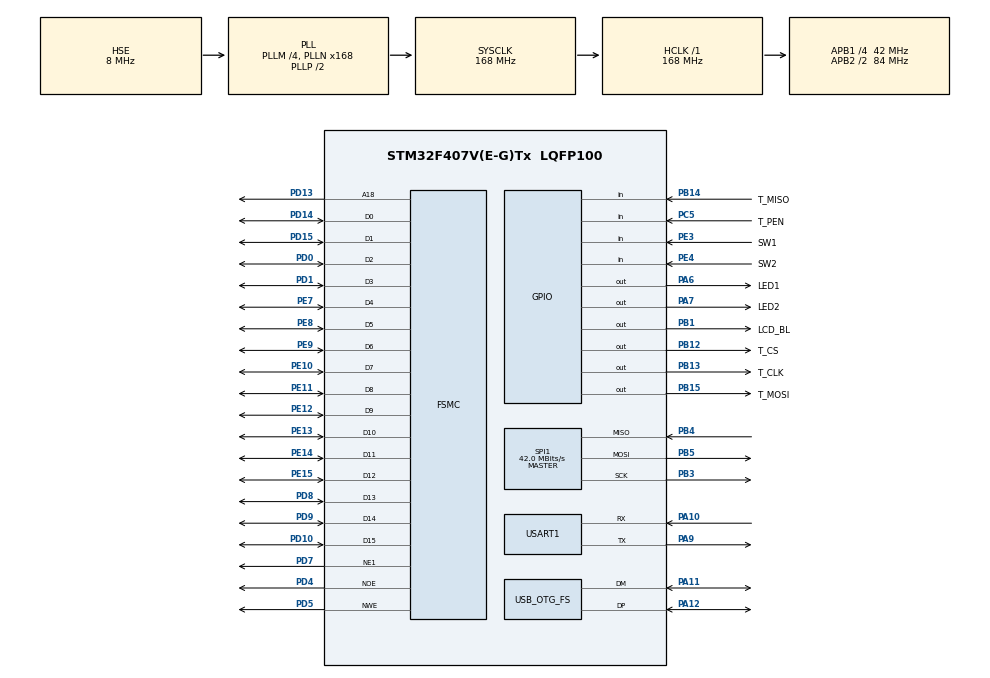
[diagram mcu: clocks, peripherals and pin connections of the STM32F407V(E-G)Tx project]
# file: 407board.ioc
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FSMC.AddressSetupTime1=1
FSMC.BusTurnAroundDuration1=0
FSMC.DataSetupTime1=5
Mcu.Family=STM32F4
Mcu.Name=STM32F407V(E-G)Tx
Mcu.Package=LQFP100
NVIC.OTG_FS_IRQn=true\:0\:0\:false\:false\:true\:true\:true\:true
NVIC.PriorityGroup=NVIC_PRIORITYGROUP_4
NVIC.SPI1_IRQn=true\:0\:0\:false\:false\:true\:true\:true\:true
NVIC.USART1_IRQn=true\:0\:0\:false\:false\:true\:true\:true\:true
PA0-WKUP.Mode=SYS_WakeUp0
PA0-WKUP.Signal=SYS_WKUP
PA10.Mode=Asynchronous
PA10.Signal=USART1_RX
PA11.Mode=Device_Only
PA11.Signal=USB_OTG_FS_DM
PA12.Mode=Device_Only
PA12.Signal=USB_OTG_FS_DP
PA13.Mode=Serial_Wire
PA13.Signal=SYS_JTMS-SWDIO
PA14.Mode=Serial_Wire
PA14.Signal=SYS_JTCK-SWCLK
PA6.GPIO_Label=LED1
PA6.PinState=GPIO_PIN_SET
PA6.Signal=GPIO_Output
PA7.GPIO_Label=LED2
PA7.PinState=GPIO_PIN_SET
PA7.Signal=GPIO_Output
PA9.Mode=Asynchronous
PA9.Signal=USART1_TX
PB1.GPIO_Label=LCD_BL
PB1.Signal=GPIO_Output
PB12.GPIO_Label=T_CS
PB12.GPIO_ModeDefaultOutputPP=GPIO_MODE_OUTPUT_OD
PB12.GPIO_PuPd=GPIO_PULLUP
PB12.GPIO_Speed=GPIO_SPEED_FREQ_VERY_HIGH
PB12.PinState=GPIO_PIN_SET
PB12.Signal=GPIO_Output
PB13.GPIO_Label=T_CLK
PB13.GPIO_Speed=GPIO_SPEED_FREQ_VERY_HIGH
PB13.PinState=GPIO_PIN_SET
PB13.Signal=GPIO_Output
PB14.GPIO_Label=T_MISO
PB14.GPIO_PuPd=GPIO_PULLUP
PB14.Signal=GPIO_Input
PB15.GPIO_Label=T_MOSI
PB15.GPIO_Speed=GPIO_SPEED_FREQ_VERY_HIGH
PB15.PinState=GPIO_PIN_SET
PB15.Signal=GPIO_Output
PB3.Mode=Full_Duplex_Master
PB3.Signal=SPI1_SCK
PB4.Mode=Full_Duplex_Master
PB4.Signal=SPI1_MISO
PB5.Mode=Full_Duplex_Master
PB5.Signal=SPI1_MOSI
PC14-OSC32_IN.Mode=LSE-External-Oscillator
PC14-OSC32_IN.Signal=RCC_OSC32_IN
PC15-OSC32_OUT.Mode=LSE-External-Oscillator
PC15-OSC32_OUT.Signal=RCC_OSC32_OUT
PC5.GPIO_Label=T_PEN
PC5.GPIO_PuPd=GPIO_PULLUP
PC5.Signal=GPIO_Input
PD0.GPIO_PuPd=GPIO_PULLUP
PD0.Mode=16b-d1
PD0.Signal=FSMC_D2
PD1.GPIO_PuPd=GPIO_PULLUP
PD1.Mode=16b-d1
PD1.Signal=FSMC_D3
PD10.GPIO_PuPd=GPIO_PULLUP
PD10.Mode=16b-d1
PD10.Signal=FSMC_D15
PD13.Mode=A18_1
PD13.Signal=FSMC_A18
PD14.GPIO_PuPd=GPIO_PULLUP
PD14.Mode=16b-d1
PD14.Signal=FSMC_D0
PD15.GPIO_PuPd=GPIO_PULLUP
PD15.Mode=16b-d1
PD15.Signal=FSMC_D1
PD4.Mode=Lcd1
PD4.Signal=FSMC_NOE
PD5.Mode=Lcd1
PD5.Signal=FSMC_NWE
PD7.Mode=NorPsramChipSelect1_1
PD7.Signal=FSMC_NE1
PD8.GPIO_PuPd=GPIO_PULLUP
PD8.Mode=16b-d1
PD8.Signal=FSMC_D13
PD9.GPIO_PuPd=GPIO_PULLUP
PD9.Mode=16b-d1
PD9.Signal=FSMC_D14
PE10.GPIO_PuPd=GPIO_PULLUP
PE10.Mode=16b-d1
PE10.Signal=FSMC_D7
PE11.GPIO_PuPd=GPIO_PULLUP
PE11.Mode=16b-d1
PE11.Signal=FSMC_D8
PE12.GPIO_PuPd=GPIO_PULLUP
PE12.Mode=16b-d1
PE12.Signal=FSMC_D9
PE13.GPIO_PuPd=GPIO_PULLUP
PE13.Mode=16b-d1
PE13.Signal=FSMC_D10
PE14.GPIO_PuPd=GPIO_PULLUP
PE14.Mode=16b-d1
PE14.Signal=FSMC_D11
PE15.GPIO_PuPd=GPIO_PULLUP
PE15.Mode=16b-d1
PE15.Signal=FSMC_D12
PE3.GPIO_Label=SW1
PE3.GPIO_PuPd=GPIO_PULLUP
PE3.Signal=GPIO_Input
PE4.GPIO_Label=SW2
PE4.GPIO_PuPd=GPIO_PULLUP
PE4.Signal=GPIO_Input
PE7.GPIO_PuPd=GPIO_PULLUP
PE7.Mode=16b-d1
PE7.Signal=FSMC_D4
PE8.GPIO_PuPd=GPIO_PULLUP
PE8.Mode=16b-d1
PE8.Signal=FSMC_D5
PE9.GPIO_PuPd=GPIO_PULLUP
PE9.Mode=16b-d1
PE9.Signal=FSMC_D6
PH0-OSC_IN.Mode=HSE-External-Oscillator
PH0-OSC_IN.Signal=RCC_OSC_IN
PH1-OSC_OUT.Mode=HSE-External-Oscillator
PH1-OSC_OUT.Signal=RCC_OSC_OUT
ProjectManager.HeapSize=0x200
ProjectManager.StackSize=0x400
ProjectManager.TargetToolchain=STM32CubeIDE
RCC.48MHZClocksFreq_Value=48000000
RCC.AHBFreq_Value=168000000
RCC.APB1CLKDivider=RCC_HCLK_DIV4
RCC.APB1Freq_Value=42000000
RCC.APB1TimFreq_Value=84000000
RCC.APB2CLKDivider=RCC_HCLK_DIV2
RCC.APB2Freq_Value=84000000
RCC.APB2TimFreq_Value=168000000
RCC.CortexFreq_Value=168000000
RCC.HCLKFreq_Value=168000000
RCC.HSE_VALUE=8000000
RCC.HSI_VALUE=16000000
RCC.PLLM=4
RCC.PLLN=168
RCC.PLLQ=7
RCC.RCC_RTC_Clock_Source=RCC_RTCCLKSOURCE_LSE
RCC.RCC_RTC_Clock_SourceVirtual=RCC_RTCCLKSOURCE_LSE
RCC.SYSCLKFreq_VALUE=168000000
RCC.SYSCLKSource=RCC_SYSCLKSOURCE_PLLCLK
RCC.VCOOutputFreq_Value=336000000
SPI1.CalculateBaudRate=42.0 MBits/s
SPI1.Direction=SPI_DIRECTION_2LINES
SPI1.Mode=SPI_MODE_MASTER
SPI1.VirtualType=VM_MASTER
USART1.VirtualMode=VM_ASYNC
USB_DEVICE.CLASS_NAME_FS=CDC
USB_DEVICE.VirtualMode-CDC_FS=Cdc
USB_DEVICE.VirtualModeFS=Cdc_FS
USB_OTG_FS.VirtualMode=Device_Only
VP_RTC_VS_RTC_Activate.Mode=RTC_Enabled
VP_USB_DEVICE_VS_USB_DEVICE_CDC_FS.Mode=CDC_FS
board=custom

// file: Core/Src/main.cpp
/* USER CODE BEGIN Header */
/**
  ******************************************************************************
  * @file           : main.c
  * @brief          : Main program body
  ******************************************************************************
  * @attention
  * Copyright (c) 2023 STMicroelectronics.
  * All rights reserved.
  *
  * This software is licensed under terms that can be found in the LICENSE file
  * in the root directory of this software component.
  * If no LICENSE file comes with this software, it is provided AS-IS.
  *
  ******************************************************************************
  */
/* USER CODE END Header */
#include "main.h"
#include "rtc.h"
#include "spi.h"
#include "usart.h"
#include "usb_device.h"
#include "gpio.h"
#include "fsmc.h"

/* USER CODE BEGIN Includes */
#include "ili9341.h"
#include "ILI9341_Touchscreen.h"
// #include "tpad.h"
#include <stdbool.h>
/* USER CODE END Includes */

/* USER CODE BEGIN PD */
#define min(a,b) (((a)<(b))?(a):(b))
/* USER CODE END PD */

/* USER CODE BEGIN PV */
RTC_TimeTypeDef time;
extern RTC_HandleTypeDef hrtc;
uint16_t penX, penY;

/* USER CODE END PV */

void SystemClock_Config(void);
/* USER CODE BEGIN PFP */
void demoLCD(int i);
unsigned long testFillScreen();
unsigned long testText();
unsigned long testLines(uint16_t color);
unsigned long testFastLines(uint16_t color1, uint16_t color2);
unsigned long testRects(uint16_t color);
unsigned long testFilledRects(uint16_t color1, uint16_t color2);
unsigned long testFilledCircles(uint8_t radius, uint16_t color);
unsigned long testCircles(uint8_t radius, uint16_t color);
unsigned long testTriangles();
unsigned long testFilledTriangles();
unsigned long testRoundRects();
unsigned long testFilledRoundRects();
unsigned long testDrawImage();
/* USER CODE END PFP */

int main(void)
{

  /* MCU Configuration--------------------------------------------------------*/

  /* Reset of all peripherals, Initializes the Flash interface and the Systick. */
  HAL_Init();

  /* Configure the system clock */
  SystemClock_Config();

  /* Initialize all configured peripherals */
  MX_GPIO_Init();
  MX_FSMC_Init();
  MX_RTC_Init();
  MX_SPI1_Init();
  MX_USART1_UART_Init();
  MX_USB_DEVICE_Init();
  /* USER CODE BEGIN 2 */
//  time.Hours = 22;
//  time.Minutes = 59;
//  time.Seconds = 00;
//  HAL_RTC_SetTime(&rtc, &time , RTC_HOURFORMAT_24);
  LCD_BL_ON();
   lcdInit();
   int i = 1;
   lcdSetOrientation((lcdOrientationTypeDef)i);
   // TpadInit();
   HAL_Delay(100);
  // HAL_RTC_GetTime(&hrtc, &time, RTC_HOURFORMAT_24);
   lcdFillRGB(COLOR_BLACK);
   char Str[] = "Привет!";
   lcdSetTextFont(&Font_arial_10);
       lcdSetCursor(15,2);
       lcdPrintText(Str, 7, COLOR_GREEN, COLOR_DARKCYAN);
       HAL_Delay(2000);
       lcdSetCursor(1,20);
       lcdSetTextColor(COLOR_WHITE, COLOR_BLACK);
       lcdPrintf("\t\t CALIBRATE! \n Перемешайте стилус по экрану \n from  upper right to down left\n   screens corner few time");
       while(! TP_Touchpad_Pressed());
       TP_calibration();
   lcdFillRGB(COLOR_BLACK);

  /* USER CODE END 2 */

  /* Infinite loop */
  /* USER CODE BEGIN WHILE */
bool refil = false;
  while (1)
  {

//      	if(TpadGetCoordinates(penX, penY)){
//      	}

      if(TP_Touchpad_Pressed() == 1){
	  uint16_t Coord[4] ={0};
	  refil = true;
	  TP_Read_Coordinates(Coord);
      		lcdSetTextFont(&Font_arial_10);
      	      	lcdSetCursor(1 , 1);
      	      	lcdSetTextColor(COLOR_GREENYELLOW, COLOR_BLACK);
      	      	lcdPrintf("PEN: X %5i Y %5i\n \t X %5i Y %5i", Coord[0], Coord[1], Coord[2], Coord[3]);

      } else {
	  if (refil){
	  refil = false;
	  lcdFillRGB(COLOR_BLACK);
	  }
      }
    unsigned long t = testText();
    lcdSetTextFont(&Font_arial_10);
    lcdSetCursor(0, lcdGetHeight() - lcdGetTextFont()->Height - 2);
    lcdSetTextColor(COLOR_WHITE, COLOR_BLACK);
    lcdPrintf("Time: %4lu ms", t);
      		// HAL_Delay(_delay);

//      demoLCD(i);
//    	  i++;
      }

    /* USER CODE END WHILE */

}

void SystemClock_Config(void)
{
  RCC_OscInitTypeDef RCC_OscInitStruct = {0};
  RCC_ClkInitTypeDef RCC_ClkInitStruct = {0};

  /** Configure the main internal regulator output voltage
  */
  __HAL_RCC_PWR_CLK_ENABLE();
  __HAL_PWR_VOLTAGESCALING_CONFIG(PWR_REGULATOR_VOLTAGE_SCALE1);

  /** Initializes the RCC Oscillators according to the specified parameters
  * in the RCC_OscInitTypeDef structure.
  */
  RCC_OscInitStruct.OscillatorType = RCC_OSCILLATORTYPE_HSE|RCC_OSCILLATORTYPE_LSE;
  RCC_OscInitStruct.HSEState = RCC_HSE_ON;
  RCC_OscInitStruct.LSEState = RCC_LSE_ON;
  RCC_OscInitStruct.PLL.PLLState = RCC_PLL_ON;
  RCC_OscInitStruct.PLL.PLLSource = RCC_PLLSOURCE_HSE;
  RCC_OscInitStruct.PLL.PLLM = 4;
  RCC_OscInitStruct.PLL.PLLN = 168;
  RCC_OscInitStruct.PLL.PLLP = RCC_PLLP_DIV2;
  RCC_OscInitStruct.PLL.PLLQ = 7;
  if (HAL_RCC_OscConfig(&RCC_OscInitStruct) != HAL_OK)
  {
    Error_Handler();
  }

  /** Initializes the CPU, AHB and APB buses clocks
  */
  RCC_ClkInitStruct.ClockType = RCC_CLOCKTYPE_HCLK|RCC_CLOCKTYPE_SYSCLK
                              |RCC_CLOCKTYPE_PCLK1|RCC_CLOCKTYPE_PCLK2;
  RCC_ClkInitStruct.SYSCLKSource = RCC_SYSCLKSOURCE_PLLCLK;
  RCC_ClkInitStruct.AHBCLKDivider = RCC_SYSCLK_DIV1;
  RCC_ClkInitStruct.APB1CLKDivider = RCC_HCLK_DIV4;
  RCC_ClkInitStruct.APB2CLKDivider = RCC_HCLK_DIV2;

  if (HAL_RCC_ClockConfig(&RCC_ClkInitStruct, FLASH_LATENCY_5) != HAL_OK)
  {
    Error_Handler();
  }
}

/* USER CODE BEGIN 4 */

void demoLCD(int i)
{

	lcdSetOrientation((lcdOrientationTypeDef)i);
	uint16_t _delay = 200;
	uint32_t t = testFillScreen();
	lcdSetTextFont(&Font_arial_10);
	lcdSetCursor(0, lcdGetHeight() - lcdGetTextFont()->Height - 1);
	lcdSetTextColor(COLOR_WHITE, COLOR_BLACK);
	lcdPrintf("Time: %4lu ms", t);
	HAL_Delay(_delay);

	t = HAL_GetTick();
	lcdTest();
	lcdSetTextFont(&Font_arial_10);
	lcdSetCursor(0, lcdGetHeight() - lcdGetTextFont()->Height - 1);
	lcdSetTextColor(COLOR_WHITE, COLOR_BLACK);
	lcdPrintf("Time: %4lu ms", HAL_GetTick() - t);
	HAL_Delay(_delay);

	t = testText();
	lcdSetTextFont(&Font_arial_10);
	lcdSetCursor(0, lcdGetHeight() - lcdGetTextFont()->Height - 1);
	lcdSetTextColor(COLOR_WHITE, COLOR_BLACK);
	lcdPrintf("Time: %4lu ms", t);
	HAL_Delay(_delay*10);

	lcdSetTextFont(&Font_arial_10);
	lcdSetCursor(0, lcdGetHeight() - lcdGetTextFont()->Height - 1);
	lcdSetTextColor(COLOR_WHITE, COLOR_BLACK);
	lcdPrintf("Time: %4lu ms", testLines(COLOR_CYAN));
	HAL_Delay(_delay);

	lcdSetTextFont(&Font_arial_10);
	lcdSetCursor(0, lcdGetHeight() - lcdGetTextFont()->Height - 1);
	lcdSetTextColor(COLOR_WHITE, COLOR_BLACK);
	lcdPrintf("Time: %4lu ms", testFastLines(COLOR_RED, COLOR_BLUE));
	HAL_Delay(_delay);

	lcdSetTextFont(&Font_arial_10);
	lcdSetCursor(0, lcdGetHeight() - lcdGetTextFont()->Height - 1);
	lcdSetTextColor(COLOR_WHITE, COLOR_BLACK);
	lcdPrintf("Time: %4lu ms", testRects(COLOR_GREEN));
	HAL_Delay(_delay);

	lcdSetTextFont(&Font_arial_10);
	lcdSetCursor(0, lcdGetHeight() - lcdGetTextFont()->Height - 1);
	lcdSetTextColor(COLOR_WHITE, COLOR_BLACK);
	lcdPrintf("Time: %4lu ms", testFilledRects(COLOR_YELLOW, COLOR_MAGENTA));
	HAL_Delay(_delay);

	lcdSetTextFont(&Font_arial_10);
	lcdSetCursor(0, lcdGetHeight() - lcdGetTextFont()->Height - 1);
	lcdSetTextColor(COLOR_WHITE, COLOR_BLACK);
	lcdPrintf("Time: %4lu ms", testFilledCircles(10, COLOR_MAGENTA));
	HAL_Delay(_delay);

	lcdSetTextFont(&Font_arial_10);
	lcdSetCursor(0, lcdGetHeight() - lcdGetTextFont()->Height - 1);
	lcdSetTextColor(COLOR_WHITE, COLOR_BLACK);
	lcdPrintf("Time: %4lu ms", testCircles(10, COLOR_WHITE));
	HAL_Delay(_delay);

	lcdSetTextFont(&Font_arial_10);
	lcdSetCursor(0, lcdGetHeight() - lcdGetTextFont()->Height - 1);
	lcdSetTextColor(COLOR_WHITE, COLOR_BLACK);
	lcdPrintf("Time: %4lu ms", testTriangles());
	HAL_Delay(_delay);

	lcdSetTextFont(&Font_arial_10);
	lcdSetCursor(0, lcdGetHeight() - lcdGetTextFont()->Height - 1);
	lcdSetTextColor(COLOR_WHITE, COLOR_BLACK);
	lcdPrintf("Time: %4lu ms", testFilledTriangles());
	HAL_Delay(_delay);

	lcdSetTextFont(&Font_arial_10);
	lcdSetCursor(0, lcdGetHeight() - lcdGetTextFont()->Height - 1);
	lcdSetTextColor(COLOR_WHITE, COLOR_BLACK);
	lcdPrintf("Time: %4lu ms", testRoundRects());
	HAL_Delay(_delay);

	lcdSetTextFont(&Font_arial_10);
	lcdSetCursor(0, lcdGetHeight() - lcdGetTextFont()->Height - 1);
	lcdSetTextColor(COLOR_WHITE, COLOR_BLACK);
	lcdPrintf("Time: %4lu ms", testFilledRoundRects());
	HAL_Delay(_delay);

	lcdSetTextFont(&Font_arial_10);
	lcdSetCursor(0, lcdGetHeight() - lcdGetTextFont()->Height - 1);
	lcdSetTextColor(COLOR_WHITE, COLOR_BLACK);
	lcdPrintf("Time: %4lu ms", testDrawImage());
	HAL_Delay(_delay);
}

unsigned long testFillScreen()
{
	uint16_t blink_time = 500;
	unsigned long start = HAL_GetTick(), t = 0;
	lcdFillRGB(COLOR_BLACK);
	t += HAL_GetTick() - start;
	lcdSetCursor(0, 0);
	lcdSetTextFont(&Font_verdana_14);
	lcdSetTextColor(COLOR_WHITE, COLOR_BLACK);
	lcdPrintf("BLACK");
	HAL_Delay(blink_time);
	start = HAL_GetTick();
	lcdFillRGB(COLOR_RED);
	t += HAL_GetTick() - start;
	lcdSetCursor(0, 0);
	lcdSetTextFont(&Font_verdana_14);
	lcdSetTextColor(COLOR_WHITE, COLOR_BLACK);
	lcdPrintf("RED");
	HAL_Delay(blink_time);
	start = HAL_GetTick();
	lcdFillRGB(COLOR_GREEN);
	t += HAL_GetTick() - start;
	lcdSetCursor(0, 0);
	lcdSetTextFont(&Font_verdana_14);
	lcdSetTextColor(COLOR_WHITE, COLOR_BLACK);
	lcdPrintf("GREEN");
	HAL_Delay(blink_time);
	start = HAL_GetTick();
	lcdFillRGB(COLOR_BLUE);
	t += HAL_GetTick() - start;
	lcdSetCursor(0, 0);
	lcdSetTextFont(&Font_verdana_14);
	lcdSetTextColor(COLOR_WHITE, COLOR_BLACK);
	lcdPrintf("BLUE");
	HAL_Delay(blink_time);
	start = HAL_GetTick();
	lcdFillRGB(COLOR_BLACK);
	return t += HAL_GetTick() - start;
}

unsigned long testText()
{
	unsigned long start = HAL_GetTick();
	HAL_RTC_GetTime(&hrtc, &time, RTC_HOURFORMAT_24);
	lcdSetCursor(50, 60);
	lcdSetTextColor(COLOR_YELLOW, COLOR_BLACK);
	lcdSetTextFont(&Font_arial_14);
	lcdPrintf("%02i : %02i : %02i ", time.Hours, time.Minutes, time.Seconds);
		lcdSetCursor(0, 86);
		lcdSetTextColor(COLOR_YELLOW, COLOR_BLACK);
		lcdSetTextFont(&Font_verdana_8);
		lcdPrintf("\t Monospace font type \n \t \texample: \n\n\t!@#$%^&,.-+=<>? \n\t 1234567890\n  Hello!\n" );
		lcdSetTextFont(&Font_arial_10);
		char Str1[] ="Proportional font example: \nКириллический шрифт\n и Latinic";
		lcdPrintText(Str1, 58, COLOR_GREENYELLOW, COLOR_DARKCYAN);
	return HAL_GetTick() - start;
}

unsigned long testLines(uint16_t color)
{
  unsigned long start, t;
  int           x1, y1, x2, y2,
                w = lcdGetWidth(),
                h = lcdGetHeight();

  lcdFillRGB(COLOR_BLACK);

  x1 = y1 = 0;
  y2    = h - 1;
  start = HAL_GetTick();
  for(x2 = 0; x2 < w; x2 += 6) lcdDrawLine(x1, y1, x2, y2, color);
  x2 = w - 1;
  for(y2 = 0; y2 < h; y2 += 6) lcdDrawLine(x1, y1, x2, y2, color);
  t = HAL_GetTick() - start; // fillScreen doesn't count against timing

  HAL_Delay(500);
  lcdFillRGB(COLOR_BLACK);

  x1 = w - 1;
  y1 = 0;
  y2 = h - 1;

  start = HAL_GetTick();

  for(x2 = 0; x2 < w; x2 += 6) lcdDrawLine(x1, y1, x2, y2, color);
  x2 = 0;
  for(y2 = 0; y2 < h; y2 += 6) lcdDrawLine(x1, y1, x2, y2, color);
  t += HAL_GetTick() - start;

  HAL_Delay(500);
  lcdFillRGB(COLOR_BLACK);

  x1 = 0;
  y1 = h - 1;
  y2 = 0;
  start = HAL_GetTick();

  for(x2 = 0; x2 < w; x2 += 6) lcdDrawLine(x1, y1, x2, y2, color);
  x2 = w - 1;
  for(y2 = 0; y2 < h; y2 += 6) lcdDrawLine(x1, y1, x2, y2, color);
  t += HAL_GetTick() - start;

  HAL_Delay(500);
  lcdFillRGB(COLOR_BLACK);

  x1 = w - 1;
  y1 = h - 1;
  y2 = 0;

  start = HAL_GetTick();

  for(x2 = 0; x2 < w; x2 += 6) lcdDrawLine(x1, y1, x2, y2, color);
  x2 = 0;
  for(y2 = 0; y2 < h; y2 += 6) lcdDrawLine(x1, y1, x2, y2, color);

  return t += HAL_GetTick() - start;
}

unsigned long testFastLines(uint16_t color1, uint16_t color2)
{
  unsigned long start;
  int x, y, w = lcdGetWidth(), h = lcdGetHeight();

  lcdFillRGB(COLOR_BLACK);
  start = HAL_GetTick();
  for(y = 0; y < h; y += 5) lcdDrawHLine(0, w, y, color1);
  for(x = 0; x < w; x += 5) lcdDrawVLine(x, 0, h, color2);

  return HAL_GetTick() - start;
}

unsigned long testRects(uint16_t color)
{
  unsigned long start;
  int n, i, i2,
      cx = lcdGetWidth()  / 2,
      cy = lcdGetHeight() / 2;

  lcdFillRGB(COLOR_BLACK);
  n = min(lcdGetWidth(), lcdGetHeight());
  start = HAL_GetTick();
  for(i = 2; i < n; i += 6)
  {
    i2 = i / 2;
    lcdDrawRect(cx - i2, cy - i2, i, i, color);
  }

  return HAL_GetTick() - start;
}

unsigned long testFilledRects(uint16_t color1, uint16_t color2)
{
  unsigned long start, t = 0;
  int n, i, i2,
      cx = lcdGetWidth() / 2 - 1,
      cy = lcdGetHeight() / 2 - 1;

  lcdFillRGB(COLOR_BLACK);
  n = min(lcdGetWidth(), lcdGetHeight());

  for(i = n; i > 0; i -= 6)
  {
    i2 = i / 2;
    start = HAL_GetTick();
    lcdFillRect(cx-i2, cy-i2, i, i, color1);
    t    += HAL_GetTick() - start;
    // Outlines are not included in timing results
    lcdDrawRect(cx-i2, cy-i2, i, i, color1);
  }

  return t;
}

unsigned long testFilledCircles(uint8_t radius, uint16_t color)
{
  unsigned long start;
  int x, y, w = lcdGetWidth(), h = lcdGetHeight(), r2 = radius * 2;

  lcdFillRGB(COLOR_BLACK);
  start = HAL_GetTick();
  for(x = radius; x < w; x += r2)
  {
    for(y = radius; y < h; y += r2)
    {
      lcdFillCircle(x, y, radius, color);
    }
  }

  return HAL_GetTick() - start;
}

unsigned long testCircles(uint8_t radius, uint16_t color)
{
  unsigned long start;
  int x, y, r2 = radius * 2,
      w = lcdGetWidth()  + radius,
      h = lcdGetHeight() + radius;

  // Screen is not cleared for this one -- this is
  // intentional and does not affect the reported time.
  start = HAL_GetTick();
  for(x = 0; x < w; x += r2)
  {
    for(y = 0; y < h; y += r2)
    {
      lcdDrawCircle(x, y, radius, color);
    }
  }

  return HAL_GetTick() - start;
}

unsigned long testTriangles()
{
  unsigned long start;
  int n, i, cx = lcdGetWidth() / 2 - 1,
            cy = lcdGetHeight() / 2 - 1;

  lcdFillRGB(COLOR_BLACK);
  n = min(cx, cy);
  start = HAL_GetTick();
  for(i = 0; i < n; i += 5)
  {
    lcdDrawTriangle(
      cx    , cy - i, // peak
      cx - i, cy + i, // bottom left
      cx + i, cy + i, // bottom right
      lcdColor565(i, i, i));
  }

  return HAL_GetTick() - start;
}

unsigned long testFilledTriangles()
{
  unsigned long start, t = 0;
  int i, cx = lcdGetWidth() / 2 - 1,
         cy = lcdGetHeight() / 2 - 1;

  lcdFillRGB(COLOR_BLACK);
  for(i = min(cx, cy); i > 10; i -= 5)
  {
    start = HAL_GetTick();
    lcdFillTriangle(cx, cy - i, cx - i, cy + i, cx + i, cy + i, lcdColor565(0, i*10, i*10));
    t += HAL_GetTick() - start;
    lcdFillTriangle(cx, cy - i, cx - i, cy + i, cx + i, cy + i, lcdColor565(i*10, i*10, 0));
  }

  return t;
}

unsigned long testRoundRects()
{
  unsigned long start;
  int w, i, i2,
      cx = lcdGetWidth() / 2 - 1,
      cy = lcdGetHeight() / 2 - 1;

  lcdFillRGB(COLOR_BLACK);
  w = lcdGetWidth(), lcdGetHeight();
  start = HAL_GetTick();
  for(i = 0; i < w; i += 6)
  {
    i2 = i / 2;
    lcdDrawRoundRect(cx-i2, cy-i2, i, i, i/8, lcdColor565(i, 0, 0));
  }

  return HAL_GetTick() - start;
}

unsigned long testFilledRoundRects()
{
  unsigned long start;
  int i, i2,
      cx = lcdGetWidth()  / 2 - 1,
      cy = lcdGetHeight() / 2 - 1;

  lcdFillRGB(COLOR_BLACK);
  start = HAL_GetTick();
  for(i = min(lcdGetWidth(), lcdGetHeight()); i > 20; i -=6 )
  {
    i2 = i / 2;
    lcdFillRoundRect(cx - i2, cy - i2, i, i, i / 8, lcdColor565(0, i, 0));
  }

  return HAL_GetTick() - start;
}

unsigned long testDrawImage()
{
	unsigned long start;

	lcdFillRGB(COLOR_BLACK);
	start = HAL_GetTick();
	if (lcdGetOrientation() == LCD_ORIENTATION_LANDSCAPE || lcdGetOrientation() == LCD_ORIENTATION_LANDSCAPE_MIRROR)
	{
		lcdDrawImage((lcdGetWidth() - bmSTLogo.xSize) / 2, 0, &bmSTLogo);
	}
	else
	{
		lcdDrawImage(0, (lcdGetHeight() - bmSTLogo.ySize) / 2, &bmSTLogo);
	}
	return HAL_GetTick() - start;
}

/* USER CODE END 4 */

void Error_Handler(void)
{
  __disable_irq();
  while (1)
  {
  }
}
